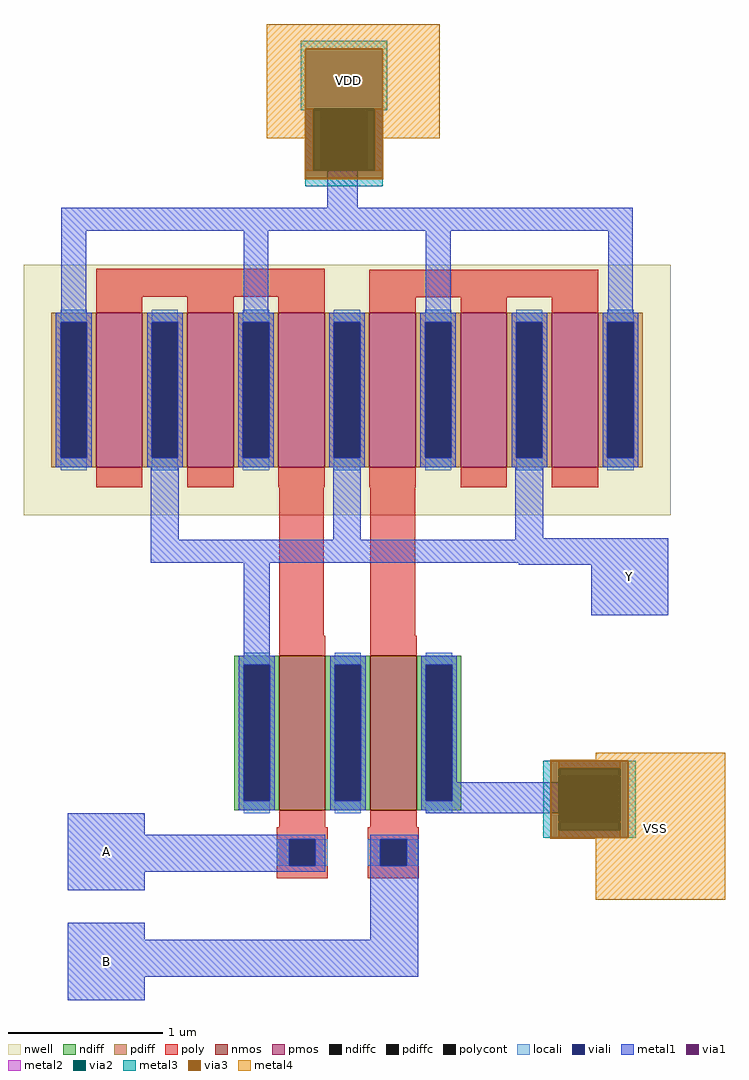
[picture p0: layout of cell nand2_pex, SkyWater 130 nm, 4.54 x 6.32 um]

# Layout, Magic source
magic
tech sky130B
magscale 1 2
<< nwell >>
rect 1 6 839 330
<< nmos >>
rect 332 -376 392 -176
rect 450 -376 510 -176
<< pmos >>
rect 95 68 155 268
rect 213 68 273 268
rect 331 68 391 268
rect 449 68 509 268
rect 567 68 627 268
rect 685 68 745 268
<< ndiff >>
rect 274 -188 332 -176
rect 274 -364 286 -188
rect 320 -364 332 -188
rect 274 -376 332 -364
rect 392 -188 450 -176
rect 392 -364 404 -188
rect 438 -364 450 -188
rect 392 -376 450 -364
rect 510 -188 568 -176
rect 510 -364 522 -188
rect 556 -364 568 -188
rect 510 -376 568 -364
<< pdiff >>
rect 37 256 95 268
rect 37 80 49 256
rect 83 80 95 256
rect 37 68 95 80
rect 155 256 213 268
rect 155 80 167 256
rect 201 80 213 256
rect 155 68 213 80
rect 273 256 331 268
rect 273 80 285 256
rect 319 80 331 256
rect 273 68 331 80
rect 391 256 449 268
rect 391 80 403 256
rect 437 80 449 256
rect 391 68 449 80
rect 509 256 567 268
rect 509 80 521 256
rect 555 80 567 256
rect 509 68 567 80
rect 627 256 685 268
rect 627 80 639 256
rect 673 80 685 256
rect 627 68 685 80
rect 745 256 803 268
rect 745 80 757 256
rect 791 80 803 256
rect 745 68 803 80
<< ndiffc >>
rect 286 -364 320 -188
rect 404 -364 438 -188
rect 522 -364 556 -188
<< pdiffc >>
rect 49 80 83 256
rect 167 80 201 256
rect 285 80 319 256
rect 403 80 437 256
rect 521 80 555 256
rect 639 80 673 256
rect 757 80 791 256
<< poly >>
rect 95 289 391 325
rect 95 268 155 289
rect 213 268 273 289
rect 331 268 391 289
rect 449 288 745 324
rect 449 268 509 288
rect 567 268 627 288
rect 685 268 745 288
rect 95 42 155 68
rect 213 42 273 68
rect 331 42 391 68
rect 449 42 509 68
rect 567 42 627 68
rect 685 42 745 68
rect 332 -150 390 42
rect 450 -150 508 42
rect 332 -176 392 -150
rect 450 -176 510 -150
rect 332 -398 392 -376
rect 450 -398 510 -376
rect 329 -414 395 -398
rect 329 -448 345 -414
rect 379 -448 395 -414
rect 329 -464 395 -448
rect 447 -414 513 -398
rect 447 -448 463 -414
rect 497 -448 513 -414
rect 447 -464 513 -448
<< polycont >>
rect 345 -448 379 -414
rect 463 -448 497 -414
<< locali >>
rect 49 256 83 272
rect 49 64 83 80
rect 167 256 201 272
rect 167 64 201 80
rect 285 256 319 272
rect 285 64 319 80
rect 403 256 437 272
rect 403 64 437 80
rect 521 256 555 272
rect 521 64 555 80
rect 639 256 673 272
rect 639 64 673 80
rect 757 256 791 272
rect 757 64 791 80
rect 286 -188 320 -172
rect 286 -380 320 -364
rect 404 -188 438 -172
rect 404 -380 438 -364
rect 522 -188 556 -172
rect 522 -380 556 -364
rect 329 -448 345 -414
rect 379 -448 395 -414
rect 447 -448 463 -414
rect 497 -448 513 -414
<< viali >>
rect 49 80 83 256
rect 167 80 201 256
rect 285 80 319 256
rect 403 80 437 256
rect 521 80 555 256
rect 639 80 673 256
rect 757 80 791 256
rect 286 -364 320 -188
rect 404 -364 438 -188
rect 522 -364 556 -188
rect 345 -448 379 -414
rect 463 -448 497 -414
<< metal1 >>
rect 386 522 446 532
rect 386 452 446 462
rect 394 404 434 452
rect 50 374 790 404
rect 50 268 82 374
rect 286 268 318 374
rect 522 268 554 374
rect 758 268 790 374
rect 43 256 89 268
rect 43 80 49 256
rect 83 80 89 256
rect 43 68 89 80
rect 161 256 207 268
rect 161 80 167 256
rect 201 80 207 256
rect 161 68 207 80
rect 279 256 325 268
rect 279 80 285 256
rect 319 80 325 256
rect 279 68 325 80
rect 397 256 443 268
rect 397 80 403 256
rect 437 80 443 256
rect 397 68 443 80
rect 515 256 561 268
rect 515 80 521 256
rect 555 80 561 256
rect 515 68 561 80
rect 633 256 679 268
rect 633 80 639 256
rect 673 80 679 256
rect 633 68 679 80
rect 751 256 797 268
rect 751 80 757 256
rect 791 80 797 256
rect 751 68 797 80
rect 166 -26 202 68
rect 402 -26 438 68
rect 638 -24 674 68
rect 638 -26 836 -24
rect 166 -56 836 -26
rect 286 -176 320 -56
rect 642 -58 836 -56
rect 736 -124 836 -58
rect 280 -188 326 -176
rect 280 -364 286 -188
rect 320 -364 326 -188
rect 280 -376 326 -364
rect 398 -188 444 -176
rect 398 -364 404 -188
rect 438 -364 444 -188
rect 398 -376 444 -364
rect 516 -188 562 -176
rect 516 -364 522 -188
rect 556 -340 562 -188
rect 694 -340 704 -332
rect 556 -364 704 -340
rect 516 -376 704 -364
rect 522 -380 704 -376
rect 58 -408 158 -380
rect 694 -392 704 -380
rect 764 -392 774 -332
rect 58 -414 392 -408
rect 58 -448 345 -414
rect 379 -448 392 -414
rect 58 -456 392 -448
rect 450 -414 512 -408
rect 450 -448 463 -414
rect 497 -448 512 -414
rect 58 -480 158 -456
rect 58 -544 158 -522
rect 450 -544 512 -448
rect 58 -592 512 -544
rect 58 -622 158 -592
<< via1 >>
rect 386 462 446 522
rect 704 -392 764 -332
<< metal2 >>
rect 366 452 376 532
rect 456 452 466 532
rect 694 -322 774 -312
rect 694 -412 774 -402
<< via2 >>
rect 376 522 456 532
rect 376 462 386 522
rect 386 462 446 522
rect 446 462 456 522
rect 376 452 456 462
rect 694 -332 774 -322
rect 694 -392 704 -332
rect 704 -392 764 -332
rect 764 -392 774 -332
rect 694 -402 774 -392
<< metal3 >>
rect 360 610 472 620
rect 360 530 366 610
rect 466 530 472 610
rect 366 432 466 442
rect 674 -412 684 -312
rect 784 -412 794 -312
<< via3 >>
rect 366 532 466 610
rect 366 452 376 532
rect 376 452 456 532
rect 456 452 466 532
rect 366 442 466 452
rect 684 -322 784 -312
rect 684 -402 694 -322
rect 694 -402 774 -322
rect 774 -402 784 -322
rect 684 -412 784 -402
<< metal4 >>
rect 316 610 540 642
rect 316 494 366 610
rect 365 442 366 494
rect 466 494 540 610
rect 466 442 467 494
rect 365 441 467 442
rect 742 -311 910 -302
rect 683 -312 910 -311
rect 683 -412 684 -312
rect 784 -412 910 -312
rect 683 -413 910 -412
rect 742 -492 910 -413
<< labels >>
flabel metal4 760 -452 880 -348 1 FreeSans 480 0 0 0 VSS
port 1 n
flabel metal1 58 -622 158 -522 1 FreeSans 480 0 0 0 B
port 3 n
flabel metal1 58 -480 158 -380 1 FreeSans 480 0 0 0 A
port 2 n
flabel metal1 736 -124 836 -24 1 FreeSans 480 0 0 0 Y
port 5 n
flabel metal4 322 498 522 640 1 FreeSans 480 0 0 0 VDD
port 4 n
<< end >>
